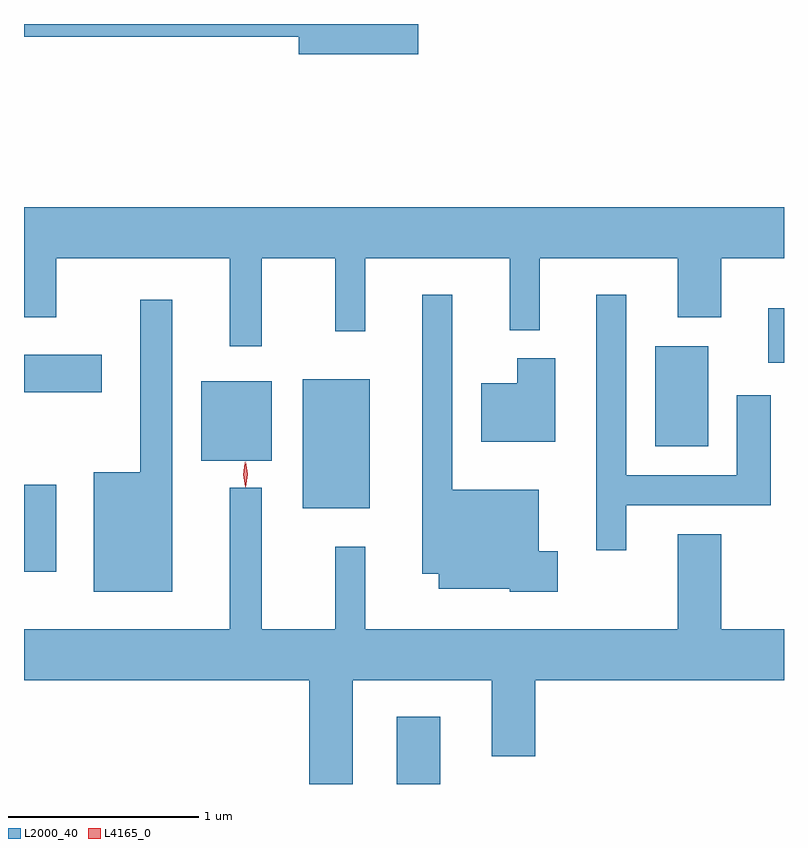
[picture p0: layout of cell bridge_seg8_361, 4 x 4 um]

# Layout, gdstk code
import gdstk
lib = gdstk.Library(unit=1e-6, precision=1e-09)
def R(c, l, rs):  # rectangles x0, y0, x1, y1
    for r in rs: c.add(gdstk.rectangle(r[:2], r[2:], *l))
def P(c, l, *ps):  # polygons
    for p in ps: c.add(gdstk.Polygon(p, *l))
L2000_40 = (2000, 40)
L4165_0 = (4165, 0)

bridge_seg8_361 = lib.new_cell('bridge_seg8_361')
R(bridge_seg8_361, L2000_40, [(772.261,1922.449,772.489,1922.804), (770.299,1923.566,770.469,1924.024), (771.766,1923.901,772.119,1924.579), (771.231,1924.151,771.604,1924.569), (773.621,1924.226,773.899,1924.754), (770.299,1924.511,770.709,1924.709), (774.216,1924.666,774.299,1924.954)])
P(bridge_seg8_361, L2000_40, [(772.374,1926.449),(770.299,1926.449),(770.299,1926.381),(771.746,1926.381),(771.746,1926.291),(772.374,1926.291)],
  [(771.549,1925.216),(771.936,1925.216),(771.936,1924.833),(772.094,1924.833),(772.094,1925.216),(772.856,1925.216),(772.856,1924.838),(773.014,1924.838),(773.014,1925.216),(773.741,1925.216),(773.741,1924.906),(773.969,1924.906),(773.969,1925.216),(774.299,1925.216),(774.299,1925.484),(770.299,1925.484),(770.299,1924.906),(770.469,1924.906),(770.469,1925.216),(771.381,1925.216),(771.381,1924.753),(771.549,1924.753)],
  [(773.109,1923.674),(773.009,1923.674),(773.009,1923.999),(772.554,1923.999),(772.554,1925.023),(772.396,1925.023),(772.396,1923.556),(772.481,1923.556),(772.481,1923.476),(772.855,1923.476),(772.855,1923.461),(773.109,1923.461)],
  [(773.469,1923.916),(774.229,1923.916),(774.229,1924.494),(774.051,1924.494),(774.051,1924.074),(773.469,1924.074),(773.469,1925.023),(773.311,1925.023),(773.311,1923.678),(773.469,1923.678)],
  [(771.079,1924.998),(770.911,1924.998),(770.911,1924.089),(770.666,1924.089),(770.666,1923.461),(771.079,1923.461)],
  [(773.094,1924.689),(772.896,1924.689),(772.896,1924.559),(772.706,1924.559),(772.706,1924.251),(773.094,1924.251)],
  [(772.029,1922.996),(772.761,1922.996),(772.761,1922.596),(772.989,1922.596),(772.989,1922.996),(774.299,1922.996),(774.299,1923.264),(773.969,1923.264),(773.969,1923.764),(773.741,1923.764),(773.741,1923.264),(772.094,1923.264),(772.094,1923.698),(771.936,1923.698),(771.936,1923.264),(771.549,1923.264),(771.549,1924.008),(771.381,1924.008),(771.381,1923.264),(770.299,1923.264),(770.299,1922.996),(771.801,1922.996),(771.801,1922.449),(772.029,1922.449)])
P(bridge_seg8_361, L4165_0, [(771.466,1924.01),(771.457,1924.078),(771.466,1924.146),(771.467,1924.146),(771.467,1924.146),(771.477,1924.078),(771.467,1924.01),(771.467,1924.01)],
  [(771.463,1924.013),(771.452,1924.077),(771.46,1924.141),(771.46,1924.142),(771.461,1924.141),(771.472,1924.077),(771.464,1924.013),(771.464,1924.013)])

lib.write_gds('bridge_seg8_361.gds')
